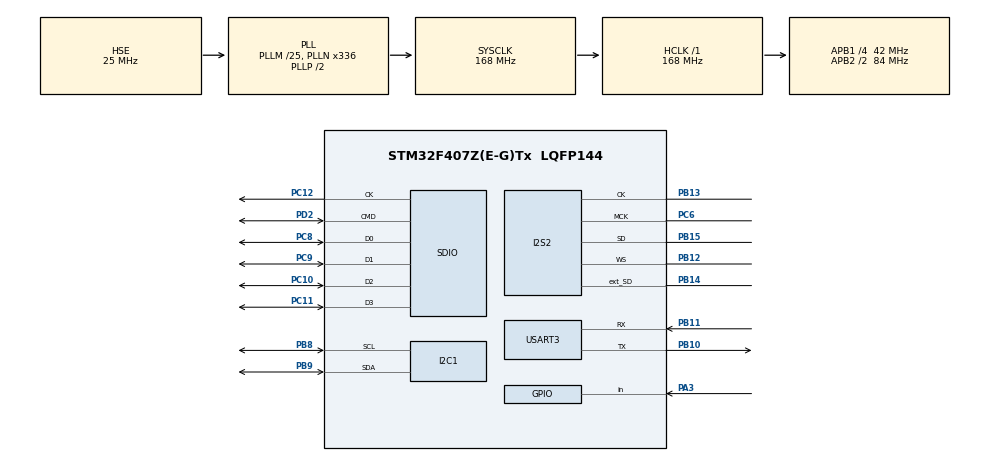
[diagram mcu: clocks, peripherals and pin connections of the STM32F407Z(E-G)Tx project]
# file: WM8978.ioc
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Dma.I2S2_EXT_RX.3.Direction=DMA_PERIPH_TO_MEMORY
Dma.I2S2_EXT_RX.3.FIFOMode=DMA_FIFOMODE_DISABLE
Dma.I2S2_EXT_RX.3.Instance=DMA1_Stream3
Dma.I2S2_EXT_RX.3.MemDataAlignment=DMA_MDATAALIGN_HALFWORD
Dma.I2S2_EXT_RX.3.MemInc=DMA_MINC_ENABLE
Dma.I2S2_EXT_RX.3.Mode=DMA_NORMAL
Dma.I2S2_EXT_RX.3.PeriphDataAlignment=DMA_PDATAALIGN_HALFWORD
Dma.I2S2_EXT_RX.3.PeriphInc=DMA_PINC_DISABLE
Dma.I2S2_EXT_RX.3.Priority=DMA_PRIORITY_LOW
Dma.Request0=SDIO_RX
Dma.Request1=SDIO_TX
Dma.Request2=SPI2_TX
Dma.Request3=I2S2_EXT_RX
Dma.SDIO_RX.0.Direction=DMA_PERIPH_TO_MEMORY
Dma.SDIO_RX.0.FIFOMode=DMA_FIFOMODE_ENABLE
Dma.SDIO_RX.0.FIFOThreshold=DMA_FIFO_THRESHOLD_FULL
Dma.SDIO_RX.0.Instance=DMA2_Stream3
Dma.SDIO_RX.0.MemBurst=DMA_MBURST_INC4
Dma.SDIO_RX.0.MemDataAlignment=DMA_MDATAALIGN_WORD
Dma.SDIO_RX.0.MemInc=DMA_MINC_ENABLE
Dma.SDIO_RX.0.Mode=DMA_PFCTRL
Dma.SDIO_RX.0.PeriphBurst=DMA_PBURST_INC4
Dma.SDIO_RX.0.PeriphDataAlignment=DMA_PDATAALIGN_WORD
Dma.SDIO_RX.0.PeriphInc=DMA_PINC_DISABLE
Dma.SDIO_RX.0.Priority=DMA_PRIORITY_LOW
Dma.SDIO_TX.1.Direction=DMA_MEMORY_TO_PERIPH
Dma.SDIO_TX.1.FIFOMode=DMA_FIFOMODE_ENABLE
Dma.SDIO_TX.1.FIFOThreshold=DMA_FIFO_THRESHOLD_FULL
Dma.SDIO_TX.1.Instance=DMA2_Stream6
Dma.SDIO_TX.1.MemBurst=DMA_MBURST_INC4
Dma.SDIO_TX.1.MemDataAlignment=DMA_MDATAALIGN_WORD
Dma.SDIO_TX.1.MemInc=DMA_MINC_ENABLE
Dma.SDIO_TX.1.Mode=DMA_PFCTRL
Dma.SDIO_TX.1.PeriphBurst=DMA_PBURST_INC4
Dma.SDIO_TX.1.PeriphDataAlignment=DMA_PDATAALIGN_WORD
Dma.SDIO_TX.1.PeriphInc=DMA_PINC_DISABLE
Dma.SDIO_TX.1.Priority=DMA_PRIORITY_LOW
Dma.SPI2_TX.2.Direction=DMA_MEMORY_TO_PERIPH
Dma.SPI2_TX.2.FIFOMode=DMA_FIFOMODE_DISABLE
Dma.SPI2_TX.2.Instance=DMA1_Stream4
Dma.SPI2_TX.2.MemDataAlignment=DMA_MDATAALIGN_HALFWORD
Dma.SPI2_TX.2.MemInc=DMA_MINC_ENABLE
Dma.SPI2_TX.2.Mode=DMA_NORMAL
Dma.SPI2_TX.2.PeriphDataAlignment=DMA_PDATAALIGN_HALFWORD
Dma.SPI2_TX.2.PeriphInc=DMA_PINC_DISABLE
Dma.SPI2_TX.2.Priority=DMA_PRIORITY_LOW
FATFS.USE_DMA_CODE_SD=1
FATFS._FS_EXFAT=1
FATFS._USE_LFN=2
I2S2.AudioFreq=I2S_AUDIOFREQ_48K
I2S2.DataFormat=I2S_DATAFORMAT_16B_EXTENDED
I2S2.ErrorAudioFreq=1.72 %
I2S2.FullDuplexMode=I2S_FULLDUPLEXMODE_ENABLE
I2S2.Instance=SPI$Index
I2S2.Mode=I2S_MODE_MASTER_TX
I2S2.RealAudioFreq=48.828 KHz
I2S2.VirtualMode=I2S_MODE_MASTER
Mcu.Family=STM32F4
Mcu.Name=STM32F407Z(E-G)Tx
Mcu.Package=LQFP144
NVIC.DMA1_Stream3_IRQn=true\:0\:0\:false\:false\:true\:false\:true\:true
NVIC.DMA1_Stream4_IRQn=true\:0\:0\:false\:false\:true\:false\:true\:true
NVIC.DMA2_Stream3_IRQn=true\:0\:0\:false\:false\:true\:false\:true\:true
NVIC.DMA2_Stream6_IRQn=true\:0\:0\:false\:false\:true\:false\:true\:true
NVIC.PriorityGroup=NVIC_PRIORITYGROUP_4
NVIC.SDIO_IRQn=true\:0\:0\:false\:false\:true\:true\:true\:true
NVIC.SPI2_IRQn=true\:0\:0\:false\:false\:true\:true\:true\:true
NVIC.USART3_IRQn=true\:0\:0\:false\:false\:true\:true\:true\:true
PA13.Mode=Serial_Wire
PA13.Signal=SYS_JTMS-SWDIO
PA14.Mode=Serial_Wire
PA14.Signal=SYS_JTCK-SWCLK
PA3.GPIO_PuPd=GPIO_PULLUP
PA3.Signal=GPIO_Input
PB10.Mode=Asynchronous
PB10.Signal=USART3_TX
PB11.Mode=Asynchronous
PB11.Signal=USART3_RX
PB12.Mode=Full_Duplex_Master
PB12.Signal=I2S2_WS
PB13.Mode=Full_Duplex_Master
PB13.Signal=I2S2_CK
PB14.Mode=Full_Duplex_Master
PB14.Signal=I2S2_ext_SD
PB15.Mode=Full_Duplex_Master
PB15.Signal=I2S2_SD
PB8.Mode=I2C
PB8.Signal=I2C1_SCL
PB9.Mode=I2C
PB9.Signal=I2C1_SDA
PC10.Mode=SD_4_bits_Wide_bus
PC10.Signal=SDIO_D2
PC11.Mode=SD_4_bits_Wide_bus
PC11.Signal=SDIO_D3
PC12.Mode=SD_4_bits_Wide_bus
PC12.Signal=SDIO_CK
PC14-OSC32_IN.Mode=LSE-External-Oscillator
PC14-OSC32_IN.Signal=RCC_OSC32_IN
PC15-OSC32_OUT.Mode=LSE-External-Oscillator
PC15-OSC32_OUT.Signal=RCC_OSC32_OUT
PC6.Mode=Master_Clock_Activated
PC6.Signal=I2S2_MCK
PC8.Mode=SD_4_bits_Wide_bus
PC8.Signal=SDIO_D0
PC9.Mode=SD_4_bits_Wide_bus
PC9.Signal=SDIO_D1
PD2.Mode=SD_4_bits_Wide_bus
PD2.Signal=SDIO_CMD
PH0-OSC_IN.Mode=HSE-External-Oscillator
PH0-OSC_IN.Signal=RCC_OSC_IN
PH1-OSC_OUT.Mode=HSE-External-Oscillator
PH1-OSC_OUT.Signal=RCC_OSC_OUT
ProjectManager.HeapSize=0x200
ProjectManager.StackSize=0x800
ProjectManager.TargetToolchain=MDK-ARM V5.32
RCC.48MHZClocksFreq_Value=48000000
RCC.AHBFreq_Value=168000000
RCC.APB1CLKDivider=RCC_HCLK_DIV4
RCC.APB1Freq_Value=42000000
RCC.APB1TimFreq_Value=84000000
RCC.APB2CLKDivider=RCC_HCLK_DIV2
RCC.APB2Freq_Value=84000000
RCC.APB2TimFreq_Value=168000000
RCC.CortexFreq_Value=168000000
RCC.HCLKFreq_Value=168000000
RCC.HSE_VALUE=25000000
RCC.HSI_VALUE=16000000
RCC.PLLI2SN=100
RCC.PLLM=25
RCC.PLLN=336
RCC.PLLQ=7
RCC.PLLSourceVirtual=RCC_PLLSOURCE_HSE
RCC.SYSCLKFreq_VALUE=168000000
RCC.SYSCLKSource=RCC_SYSCLKSOURCE_PLLCLK
RCC.VCOOutputFreq_Value=336000000
USART3.VirtualMode=VM_ASYNC
VP_FATFS_VS_SDIO.Mode=SDIO
board=custom

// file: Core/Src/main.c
/* USER CODE BEGIN Header */
/**
  ******************************************************************************
  * @file           : main.c
  * @brief          : Main program body
  ******************************************************************************
  * @attention
  *
  * Copyright (c) 2025 STMicroelectronics.
  * All rights reserved.
  *
  * This software is licensed under terms that can be found in the LICENSE file
  * in the root directory of this software component.
  * If no LICENSE file comes with this software, it is provided AS-IS.
  *
  ******************************************************************************
  */
/* USER CODE END Header */
#include "main.h"
#include "dma.h"
#include "fatfs.h"
#include "i2c.h"
#include "i2s.h"
#include "sdio.h"
#include "usart.h"
#include "gpio.h"

/* USER CODE BEGIN Includes */
#include "wm8978.h"
#include "record.h"
#include "stdio.h"
#include "wav.h"
#include "string.h"
#include "math.h"
/* USER CODE END Includes */

/* USER CODE BEGIN PV */
void sd_mount(void)
{
	retSD = f_mount(&SDFatFS, "0:", 1);                                   // 在SD卡上挂载文件系统; 参数：文件系统对象、驱动器路径、读写模式(0只读、1读写)
    if (retSD == FR_NO_FILESYSTEM)                                        // 检查是否已有文件系统，如果没有，就格式化创建创建文件系统
    {
        printf("SD NO FATFS,Initing\r\n");
        static uint8_t aMountBuffer[4096];                                // 格式化时所需的临时缓存; 块大小512的倍数; 值越大格式化越快, 如果内存不够，可改为512或者1024; 当需要在函数内定义这种大缓存时，要用static修饰，令缓存存放在全局数据区内，不然，可能会导致stack溢出。
        retSD = f_mkfs("0:", FM_FAT32, 0, aMountBuffer, sizeof(aMountBuffer));   // 格式化SD卡; 参数：驱动器、文件系统(0-自动\1-FAT12\2-FAT16\3-FAT32\4-exFat)、簇大小(0为自动选择)、格式化临时缓冲区、缓冲区大小; 格式化前必须先f_mount(x,x,1)挂载，即必须用读写方式挂载; 如果SD卡已格式化，f_mkfs()的第2个参数，不能用0自动，必须指定某个文件系统。
        if (retSD == FR_OK)                                               // 格式化 成功
        {
            printf("SD Init : SUCCESS \r\n");
            retSD = f_mount(NULL, "0:", 1);                               // 格式化后，先取消挂载
            retSD = f_mount(&SDFatFS, "0:", 1);                           // 重新挂载
            if (retSD == FR_OK)
                printf("FatFs success \r\n");                            // 挂载成功
            else
                return;                                                   // 挂载失败，退出函数
        }
        else
        {
            printf("SD Init：Fail \r\n");                              // 格式化 失败
            return;
        }
    }
    else if (retSD != FR_OK)                                              // 挂载异常
    {
        printf("FatFs ERROR: %d; Check MX_SDIO_SD_Init() change to 1B\r", retSD);
        return;
    }
    else                                                                  // 挂载成功
    {
        if (SDFatFS.fs_type == 0x03)                                      // FAT32; 1-FAT12、2-FAT16、3-FAT32、4-exFat
            printf("SD FATFS :FAT32\n");
        if (SDFatFS.fs_type == 0x04)                                      // exFAT; 1-FAT12、2-FAT16、3-FAT32、4-exFat
            printf("SD FATFS :exFAT\n");
        printf("FatFs success \r\n");                                    // 挂载成功
    }
}
/* USER CODE END PV */

void SystemClock_Config(void);

/* USER CODE BEGIN 0 */
#define WAV_BUFFER_SIZE 10000
int16_t TempBuf[WAV_BUFFER_SIZE];
#define FS 48000.0f
#define FC_LOW 300.0f    // 带通滤波器低频截止（去除低于300Hz的噪声）
#define FC_HIGH 3400.0f  // 带通滤波器高频截止（去除高于3400Hz的噪声）
#define GATE_THRESHOLD 20  // 门限降噪阈值
int16_t Filter_Buf[WAV_BUFFER_SIZE]={0};  // 滤波后数据（有符号格式）
FIL FilterFile;
uint32_t filter_wavsize=0;
int16_t Tx_Buffer[WAV_BUFFER_SIZE]={0};  // 改为有符号int16_t
int16_t Rx_Buffer[WAV_BUFFER_SIZE]={0};  // 改为有符号int16_t
int16_t Rx_Buffer2[WAV_BUFFER_SIZE]={0}; // 改为有符号int16_t
uint8_t I2S_Callback_Flag=0;
uint8_t use_id=0;
uint8_t mode=0;
char buf[20];  // 用于格式化输出的缓冲区
uint32_t i;    // 循环变量

uint32_t wavsize=0;		// 记录数据长度

/*                KEY   相关函数    begin                       */
#define     Key2         HAL_GPIO_ReadPin(GPIOA,GPIO_PIN_3)
#define     KEY_PORT    (Key2|0xfe)

uint8_t Trg=0;
uint8_t Cont=0,key_temp;
uint8_t ReadData;
void Key_Read(void)	//获取按键状态
{
    ReadData = KEY_PORT^0xff;
    Trg = ReadData & (ReadData ^ Cont);
    Cont = ReadData;
}

uint32_t key_tick=0;

void key_proc(void){// 按键处理函数
	if(uwTick-key_tick<20) return;	// 消抖
	key_tick=uwTick;
	Key_Read();
	if(Trg)key_temp=Trg;//记录按键最初始的状态
  if(Trg==0 && Cont==0 && key_temp)//所有的按键都弹起
  {
	  if(key_temp == 0x01&&mode==0)
		{
				// 按键二按下，并且处于录音状态时
				// 结束录音，配置WAV文件格式
				__HAL_I2S_DISABLE(&hi2s2);
				HAL_NVIC_DisableIRQ(SPI2_IRQn);
				//1.wav
				__WaveHeader *wavhead=(__WaveHeader*)malloc(sizeof(__WaveHeader));
				recoder_wav_init(wavhead);
				mode=0x01;	// 切换为暂停模式
				wavhead->riff.ChunkSize=wavsize+36;
				wavhead->data.ChunkSize=wavsize;
				f_lseek(&SDFile,0);
				UINT br;
				f_write(&SDFile,(const void*)wavhead,sizeof(__WaveHeader),&br);
				f_close(&SDFile);
				//filter.wav
				__WaveHeader *filter_wavhead=(__WaveHeader*)malloc(sizeof(__WaveHeader));
				recoder_wav_init(filter_wavhead);
				filter_wavhead->riff.ChunkSize = filter_wavsize + 36;
				filter_wavhead->data.ChunkSize = filter_wavsize;
				f_lseek(&FilterFile,0);
				f_write(&FilterFile, filter_wavhead, sizeof(__WaveHeader), &br);
				f_close(&FilterFile);
				free(filter_wavhead);
				free(wavhead);
				f_mount(NULL, "0:", 1);
				printf("REC OK:1.wav + filter.wav saved\r\n");
				wavsize=0;
				filter_wavsize=0;
	  }
		  key_temp=0;
	}
	return;
}

/*                  KEY   相关函数   end                       */

// IIR滤波 - 使用4阶Butterworth低通滤波器（级联两个2阶）
typedef struct{float b0,b1,b2,a1,a2;float x1,x2,y1,y2;}IIR_2nd;

// 左右声道各用一组滤波器
IIR_2nd iir_left1, iir_left2;
IIR_2nd iir_right1, iir_right2;

void IIR_2nd_Init(IIR_2nd *filt, float b0, float b1, float b2, float a1, float a2)
{
    filt->b0 = b0;
    filt->b1 = b1;
    filt->b2 = b2;
    filt->a1 = a1;
    filt->a2 = a2;
    filt->x1 = 0;
    filt->x2 = 0;
    filt->y1 = 0;
    filt->y2 = 0;
}

int16_t IIR_2nd_Filter_Sample(IIR_2nd *filt, int16_t in)
{
    float y = filt->b0 * in + filt->b1 * filt->x1 + filt->b2 * filt->x2
            - filt->a1 * filt->y1 - filt->a2 * filt->y2;
    filt->x2 = filt->x1;
    filt->x1 = in;
    filt->y2 = filt->y1;
    filt->y1 = y;
    if(y > 32767) y = 32767;
    if(y < -32768) y = -32768;
    return (int16_t)y;
}

// 初始化4阶Butterworth带通滤波器（级联2阶高通+2阶低通）
void IIR_LP_Init(float fs, float fc_low, float fc_high)
{
    // 高通滤波器系数（低频截止）
    float omg_low = 2.0f * 3.14159265f * fc_low / fs;
    float k_low = tanf(omg_low / 2.0f);
    float k2_low = k_low * k_low;
    float sqrt2 = 1.41421356f;
    float scale_low = k2_low + sqrt2 * k_low + 1.0f;

    float hp_b0 = 1.0f / scale_low;
    float hp_b1 = -2.0f / scale_low;
    float hp_b2 = 1.0f / scale_low;
    float hp_a1 = 2.0f * (k2_low - 1.0f) / scale_low;
    float hp_a2 = (k2_low - sqrt2 * k_low + 1.0f) / scale_low;

    // 低通滤波器系数（高频截止）
    float omg_high = 2.0f * 3.14159265f * fc_high / fs;
    float k_high = tanf(omg_high / 2.0f);
    float k2_high = k_high * k_high;
    float scale_high = k2_high + sqrt2 * k_high + 1.0f;

    float lp_b0 = k2_high / scale_high;
    float lp_b1 = 2.0f * k2_high / scale_high;
    float lp_b2 = k2_high / scale_high;
    float lp_a1 = 2.0f * (k2_high - 1.0f) / scale_high;
    float lp_a2 = (k2_high - sqrt2 * k_high + 1.0f) / scale_high;

    // 级联：先高通滤波，再低通滤波
    IIR_2nd_Init(&iir_left1, hp_b0, hp_b1, hp_b2, hp_a1, hp_a2);   // 左声道高通
    IIR_2nd_Init(&iir_left2, lp_b0, lp_b1, lp_b2, lp_a1, lp_a2);   // 左声道低通
    IIR_2nd_Init(&iir_right1, hp_b0, hp_b1, hp_b2, hp_a1, hp_a2);  // 右声道高通
    IIR_2nd_Init(&iir_right2, lp_b0, lp_b1, lp_b2, lp_a1, lp_a2);  // 右声道低通
}

// 门限降噪
int16_t noise_gate(int16_t sample, int16_t threshold)
{
    if (sample > -threshold && sample < threshold) {
        return 0;
    }
    return sample;
}

// 直接处理有符号音频数据（int16_t格式）
void Frame_Filter(int16_t *in, int16_t *out, uint32_t len)
{
    uint32_t i;
    int32_t sample_l, sample_r;

    for(i = 0; i < len/2; i++)
    {
        sample_l = (int32_t)in[2*i];
        sample_r = (int32_t)in[2*i + 1];

        // 4阶低通滤波（级联两个2阶）
        sample_l = IIR_2nd_Filter_Sample(&iir_left1, (int16_t)sample_l);
        sample_l = IIR_2nd_Filter_Sample(&iir_left2, (int16_t)sample_l);

        sample_r = IIR_2nd_Filter_Sample(&iir_right1, (int16_t)sample_r);
        sample_r = IIR_2nd_Filter_Sample(&iir_right2, (int16_t)sample_r);

        // 门限降噪
        sample_l = noise_gate((int16_t)sample_l, GATE_THRESHOLD);
        sample_r = noise_gate((int16_t)sample_r, GATE_THRESHOLD);

        // 防溢出处理
        if(sample_l > 32767) sample_l = 32767;
        if(sample_l < -32768) sample_l = -32768;
        if(sample_r > 32767) sample_r = 32767;
        if(sample_r < -32768) sample_r = -32768;

        out[2*i] = (int16_t)sample_l;
        out[2*i + 1] = (int16_t)sample_r;
    }
}

// 初始化滤波器状态为静音状态（32768）
void IIR_LP_Init_With_State(float fs, float fc)
{
    float omg = 2.0f * 3.14159265f * fc / fs;
    float k = tanf(omg / 2.0f);
    float k2 = k * k;
    float sqrt2 = 1.41421356f;
    float scale = k2 + sqrt2 * k + 1.0f;

    // 初始化左右声道滤波器，状态设为0（对应静音状态）
    IIR_2nd_Init(&iir_left1, k2/scale, 2*k2/scale, k2/scale, 2*(k2-1)/scale, (k2 - sqrt2*k + 1)/scale);
    IIR_2nd_Init(&iir_left2, k2/scale, 2*k2/scale, k2/scale, 2*(k2-1)/scale, (k2 - sqrt2*k + 1)/scale);
    IIR_2nd_Init(&iir_right1, k2/scale, 2*k2/scale, k2/scale, 2*(k2-1)/scale, (k2 - sqrt2*k + 1)/scale);
    IIR_2nd_Init(&iir_right2, k2/scale, 2*k2/scale, k2/scale, 2*(k2-1)/scale, (k2 - sqrt2*k + 1)/scale);
}

/* USER CODE END 0 */

int main(void)
{

  /* MCU Configuration--------------------------------------------------------*/

  /* Reset of all peripherals, Initializes the Flash interface and the Systick. */
  HAL_Init();

  /* USER CODE BEGIN Init */
  SCB->CPACR |= ((3UL << 20)|(3UL << 22));
  /* USER CODE END Init */

  /* Configure the system clock */
  SystemClock_Config();

  /* Initialize all configured peripherals */
  MX_GPIO_Init();
  MX_DMA_Init();
  MX_I2C1_Init();
  MX_USART3_UART_Init();
  MX_SDIO_SD_Init();
  MX_FATFS_Init();
  MX_I2S2_Init();
  /* USER CODE BEGIN 2 */
  if(WM8978_Init()) printf("error\r\n");	//WM8978通过I2C配置情况
  else printf("success\r\n");
  WM8978_SPKvol_Set(40);		// 设置喇叭声音
  WM8978_HPvol_Set(40,40);		// 设置耳机音量

  Record_Rec_Init();			// 接收I2C配置寄存器
  IIR_LP_Init(FS, FC_LOW, FC_HIGH);  // 带通滤波器初始化
  /* USER CODE END 2 */

  /* Infinite loop */
  /* USER CODE BEGIN WHILE */

	sd_mount(); // 挂载SD卡
	retSD = f_open(&SDFile, "0:/1.wav", FA_CREATE_ALWAYS | FA_WRITE);	// 每次覆盖录入
	if (retSD != FR_OK){	// 文件打开失败
		printf("open error code: %d",retSD);
		while(1){
			printf(".");
			HAL_Delay(1000);
		}
	}
	retSD = f_open(&FilterFile, "0:/filter.wav", FA_CREATE_ALWAYS | FA_WRITE);  //滤波后的wav
  if(retSD != FR_OK){printf("filter.wav open err:%d\r\n",retSD);while(1);}

	HAL_I2SEx_TransmitReceive_DMA(&hi2s2, (uint16_t*)Tx_Buffer, (uint16_t*)Rx_Buffer, WAV_BUFFER_SIZE);	// 开启接收
	UINT bw;
	while (1)
	{
		key_proc();	// 按键按下第二个按钮结束录制
		if(I2S_Callback_Flag&&!mode)
		{
			I2S_Callback_Flag=0;
			if(use_id)
			{
				// 写入原始数据WAV文件（二进制格式）
				f_write(&SDFile, Rx_Buffer, WAV_BUFFER_SIZE*2, &bw);
				Frame_Filter(Rx_Buffer,Filter_Buf,WAV_BUFFER_SIZE);//滤波
				// 写入滤波后数据WAV文件（二进制格式）
				f_write(&FilterFile, Filter_Buf, WAV_BUFFER_SIZE*2, &bw);
			}
			else
			{
			  // 写入原始数据WAV文件（二进制格式）
				f_write(&SDFile, Rx_Buffer2, WAV_BUFFER_SIZE*2, &bw);
				Frame_Filter(Rx_Buffer2,Filter_Buf,WAV_BUFFER_SIZE);//滤波
				// 写入滤波后数据WAV文件（二进制格式）
				f_write(&FilterFile, Filter_Buf, WAV_BUFFER_SIZE*2, &bw);
			}
			wavsize+=WAV_BUFFER_SIZE*2;
			filter_wavsize+=WAV_BUFFER_SIZE*2;//新增计数
		}
    /* USER CODE END WHILE */

	}
}

void SystemClock_Config(void)
{
  RCC_OscInitTypeDef RCC_OscInitStruct = {0};
  RCC_ClkInitTypeDef RCC_ClkInitStruct = {0};

  /** Configure the main internal regulator output voltage
  */
  __HAL_RCC_PWR_CLK_ENABLE();
  __HAL_PWR_VOLTAGESCALING_CONFIG(PWR_REGULATOR_VOLTAGE_SCALE1);

  /** Initializes the RCC Oscillators according to the specified parameters
  * in the RCC_OscInitTypeDef structure.
  */
  RCC_OscInitStruct.OscillatorType = RCC_OSCILLATORTYPE_HSE;
  RCC_OscInitStruct.HSEState = RCC_HSE_ON;
  RCC_OscInitStruct.PLL.PLLState = RCC_PLL_ON;
  RCC_OscInitStruct.PLL.PLLSource = RCC_PLLSOURCE_HSE;
  RCC_OscInitStruct.PLL.PLLM = 25;
  RCC_OscInitStruct.PLL.PLLN = 336;
  RCC_OscInitStruct.PLL.PLLP = RCC_PLLP_DIV2;
  RCC_OscInitStruct.PLL.PLLQ = 7;
  if (HAL_RCC_OscConfig(&RCC_OscInitStruct) != HAL_OK)
  {
    Error_Handler();
  }

  /** Initializes the CPU, AHB and APB buses clocks
  */
  RCC_ClkInitStruct.ClockType = RCC_CLOCKTYPE_HCLK|RCC_CLOCKTYPE_SYSCLK
                              |RCC_CLOCKTYPE_PCLK1|RCC_CLOCKTYPE_PCLK2;
  RCC_ClkInitStruct.SYSCLKSource = RCC_SYSCLKSOURCE_PLLCLK;
  RCC_ClkInitStruct.AHBCLKDivider = RCC_SYSCLK_DIV1;
  RCC_ClkInitStruct.APB1CLKDivider = RCC_HCLK_DIV4;
  RCC_ClkInitStruct.APB2CLKDivider = RCC_HCLK_DIV2;

  if (HAL_RCC_ClockConfig(&RCC_ClkInitStruct, FLASH_LATENCY_5) != HAL_OK)
  {
    Error_Handler();
  }
}

/* USER CODE BEGIN 4 */

void HAL_I2SEx_TxRxCpltCallback(I2S_HandleTypeDef *hi2s)
{
	if(mode!=0xff){
		I2S_Callback_Flag=1;
		use_id=!use_id;
		if(use_id){	//Rx_Buffer数据采集完毕
			HAL_I2SEx_TransmitReceive_DMA(&hi2s2, (uint16_t*)Tx_Buffer, (uint16_t*)Rx_Buffer2, WAV_BUFFER_SIZE);
		}else{		//Rx_Buffer2数据采集完毕
			HAL_I2SEx_TransmitReceive_DMA(&hi2s2, (uint16_t*)Tx_Buffer, (uint16_t*)Rx_Buffer, WAV_BUFFER_SIZE);
		}
	}
}
/* USER CODE END 4 */

void Error_Handler(void)
{
  __disable_irq();
  while (1)
  {
  }
}
